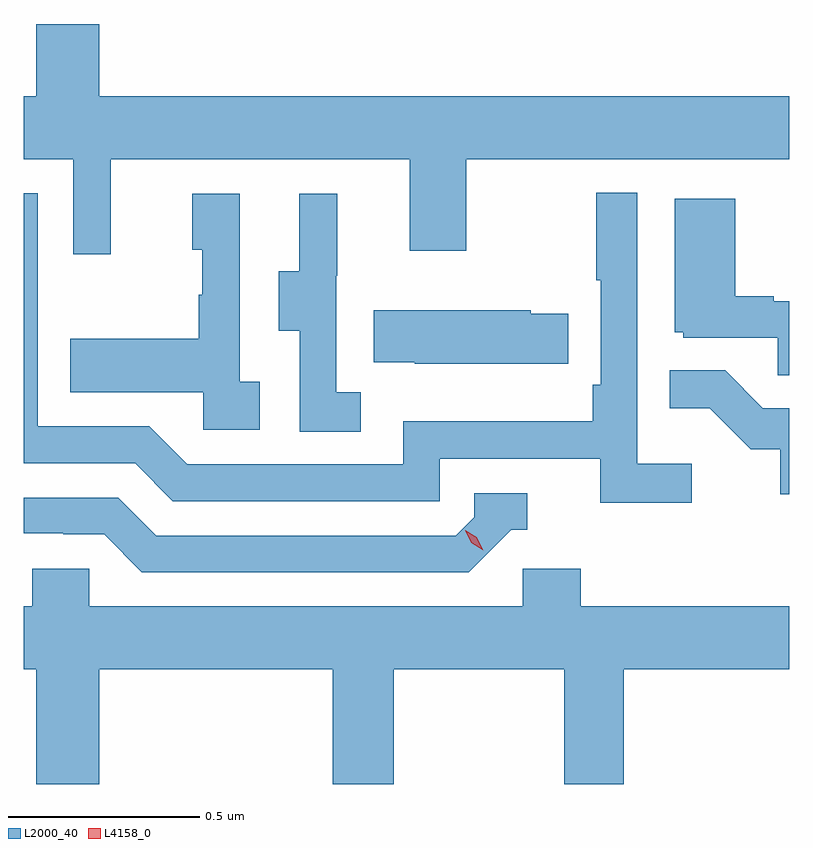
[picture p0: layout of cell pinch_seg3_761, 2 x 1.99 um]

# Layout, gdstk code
import gdstk
lib = gdstk.Library(unit=1e-6, precision=1e-09)
def P(c, l, *ps):  # polygons
    for p in ps: c.add(gdstk.Polygon(p, *l))
L2000_40 = (2000, 40)
L4158_0 = (4158, 0)

pinch_seg3_761 = lib.new_cell('pinch_seg3_761')
P(pinch_seg3_761, L2000_40, [(848.519,747.536),(849.299,747.536),(849.299,747.297),(849.447,747.297),(849.447,747.536),(850.291,747.536),(850.291,747.7),(848.488,747.7),(848.488,747.889),(848.324,747.889),(848.324,747.7),(848.291,747.7),(848.291,747.536),(848.421,747.536),(848.421,747.288),(848.519,747.288)],
  [(850.036,746.74),(849.894,746.74),(849.894,747.448),(849.786,747.448),(849.786,747.22),(849.798,747.22),(849.798,746.947),(849.778,746.947),(849.778,746.851),(849.282,746.851),(849.282,746.739),(848.718,746.739),(848.619,746.838),(848.328,746.838),(848.328,747.447),(848.291,747.447),(848.291,746.742),(848.582,746.742),(848.681,746.643),(849.378,746.643),(849.378,746.754),(849.797,746.754),(849.797,746.638),(850.036,746.638)],
  [(848.908,746.954),(848.856,746.954),(848.856,747.445),(848.732,747.445),(848.732,747.3),(848.758,747.3),(848.758,747.182),(848.748,747.182),(848.748,747.067),(848.413,747.067),(848.413,746.927),(848.76,746.927),(848.76,746.829),(848.908,746.829)],
  [(849.172,746.927),(849.108,746.927),(849.108,747.231),(849.11,747.231),(849.11,747.445),(849.011,747.445),(849.011,747.243),(848.957,747.243),(848.957,747.088),(849.012,747.088),(849.012,746.824),(849.172,746.824)],
  [(850.291,747.165),(850.25,747.165),(850.25,747.178),(850.15,747.178),(850.15,747.433),(849.992,747.433),(849.992,747.084),(850.014,747.084),(850.014,747.069),(850.261,747.069),(850.261,746.971),(850.291,746.971)],
  [(849.713,747.132),(849.615,747.132),(849.615,747.142),(849.205,747.142),(849.205,747.005),(849.313,747.005),(849.313,747.002),(849.713,747.002)],
  [(850.291,746.886),(850.221,746.886),(850.123,746.984),(849.979,746.984),(849.979,746.885),(850.083,746.885),(850.19,746.778),(850.267,746.778),(850.267,746.661),(850.291,746.661)],
  [(849.564,746.568),(849.607,746.568),(849.607,746.664),(849.468,746.664),(849.468,746.601),(849.42,746.553),(848.637,746.553),(848.538,746.652),(848.291,746.652),(848.291,746.559),(848.394,746.559),(848.394,746.556),(848.501,746.556),(848.6,746.457),(849.453,746.457)],
  [(848.488,746.204),(849.098,746.204),(849.098,745.904),(849.258,745.904),(849.258,746.204),(849.703,746.204),(849.703,745.904),(849.858,745.904),(849.858,746.204),(850.291,746.204),(850.291,746.368),(849.746,746.368),(849.746,746.466),(849.594,746.466),(849.594,746.368),(848.463,746.368),(848.463,746.466),(848.313,746.466),(848.313,746.368),(848.291,746.368),(848.291,746.204),(848.324,746.204),(848.324,745.904),(848.488,745.904)])
P(pinch_seg3_761, L4158_0, [(849.491,746.515),(849.46,746.534),(849.444,746.567),(849.444,746.567),(849.444,746.567),(849.475,746.548),(849.491,746.515),(849.491,746.515)])

lib.write_gds('pinch_seg3_761.gds')
